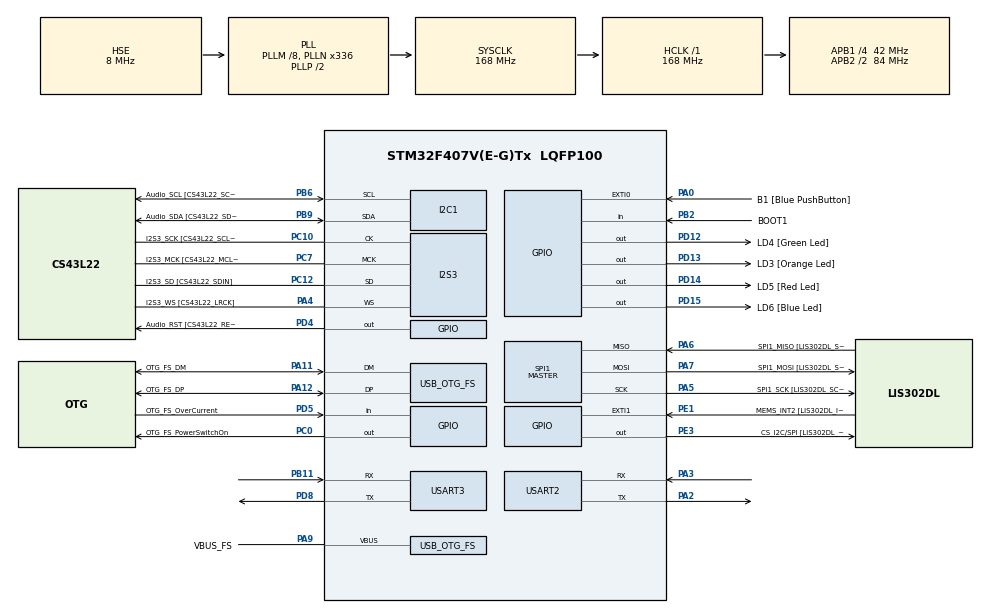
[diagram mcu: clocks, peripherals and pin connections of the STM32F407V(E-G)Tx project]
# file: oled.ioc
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PA11.GPIO_Speed=GPIO_SPEED_FREQ_LOW
PD12.GPIO_Label=LD4 [Green Led]
PH0-OSC_IN.Signal=RCC_OSC_IN
PC10.GPIO_PuPd=GPIO_NOPULL
SPI1.VirtualType=VM_MASTER
PB10.GPIO_PuPd=GPIO_NOPULL
PA10.GPIO_PuPd=GPIO_NOPULL
PC12.Signal=I2S3_SD
PA14.GPIO_Label=SWCLK
PA6.GPIO_Label=SPI1_MISO [LIS302DL_SDO]
PB6.GPIO_Label=Audio_SCL [CS43L22_SCL]
PC15-OSC32_OUT.GPIO_Label=PC15-OSC32_OUT
PC3.GPIO_Speed=GPIO_SPEED_FREQ_LOW
RCC.SYSCLKSource=RCC_SYSCLKSOURCE_PLLCLK
PA6.GPIO_Mode=GPIO_MODE_AF_PP
PD14.GPIO_Speed=GPIO_SPEED_FREQ_LOW
PA4.Mode=Half_Duplex_Master
SPI1.Direction=SPI_DIRECTION_2LINES
I2S3.AudioFreq-Half_Duplex_Master=I2S_AUDIOFREQ_96K
PD4.Signal=GPIO_Output
RCC.APB2TimFreq_Value=168000000
PB6.Signal=I2C1_SCL
PC7.Signal=I2S3_MCK
PB6.Mode=I2C
PC3.Signal=I2S2_SD
PD8.Signal=USART3_TX
PE1.Signal=GPXTI1
USB_OTG_FS.phy_itface=HCD_PHY_EMBEDDED
PB2.Signal=GPIO_Input
I2S3.ErrorAudioFreq=-2.34 %
PA5.GPIO_PuPd=GPIO_NOPULL
I2S3.ErrorAudioFreq-Half_Duplex_Master=0.8 %
PD5.GPIO_Mode=GPIO_MODE_INPUT
PD14.GPIO_PuPd=GPIO_NOPULL
PB2.GPIO_PuPd=GPIO_NOPULL
SPI1.CalculateBaudRate-Full_Duplex_Master=42.0 MBits/s
Mcu.Package=LQFP100
PB9.Signal=I2C1_SDA
PD12.Signal=GPIO_Output
PB9.GPIO_PuPd=GPIO_NOPULL
PA10.Signal=USB_OTG_FS_ID
RCC.APB2CLKDivider=RCC_HCLK_DIV2
RCC.APB1TimFreq_Value=84000000
PC12.GPIO_PuPd=GPIO_NOPULL
PA6.GPIO_Speed=GPIO_SPEED_FREQ_LOW
PA12.GPIO_PuPd=GPIO_NOPULL
PA4.GPIO_Label=I2S3_WS [CS43L22_LRCK]
PD15.Signal=GPIO_Output
PC0.PinState=GPIO_PIN_SET
PA5.Mode=Full_Duplex_Master
I2S3.FullDuplexMode=I2S_FULLDUPLEXMODE_DISABLE
PA9.GPIO_Label=VBUS_FS
PB6.GPIO_PuPd=GPIO_NOPULL
PA11.GPIO_Label=OTG_FS_DM
PE1.GPIO_PuPd=GPIO_NOPULL
PC0.Signal=GPIO_Output
RCC.APB1CLKDivider=RCC_HCLK_DIV4
PC14-OSC32_IN.Signal=RCC_OSC32_IN
PA0-WKUP.GPIO_ModeDefaultEXTI=GPIO_MODE_EVT_RISING
PA0-WKUP.GPIO_Label=B1 [Blue PushButton]
PA0-WKUP.Signal=GPXTI0
USB_HOST0.BSP.STBoard=false
PA3.Mode=Asynchronous
PC10.GPIO_Mode=GPIO_MODE_AF_PP
PB10.GPIO_Mode=GPIO_MODE_AF_PP
PB11.Mode=Asynchronous
PA9.Signal=USB_OTG_FS_VBUS
I2S3.VirtualMode=I2S_MODE_MASTER
PC7.GPIO_PuPd=GPIO_NOPULL
PD8.Mode=Asynchronous
PB10.Signal=I2S2_CK
PA5.Signal=SPI1_SCK
PC12.Mode=Half_Duplex_Master
PE1.GPIO_Label=MEMS_INT2 [LIS302DL_INT2]
USB_HOST.VirtualModeFS=Cdc
PA7.GPIO_Speed=GPIO_SPEED_FREQ_LOW
PB2.GPIO_Mode=GPIO_MODE_INPUT
SPI1.Mode=SPI_MODE_MASTER
PD4.GPIO_Speed=GPIO_SPEED_FREQ_LOW
PE3.GPIO_PuPd=GPIO_NOPULL
PH1-OSC_OUT.GPIO_Label=PH1-OSC_OUT
PA13.Mode=Serial_Wire
PC7.GPIO_Label=I2S3_MCK [CS43L22_MCLK]
PA4.Signal=I2S3_WS
PC12.GPIO_Mode=GPIO_MODE_AF_PP
PA5.GPIO_Label=SPI1_SCK [LIS302DL_SCL/SPC]
PE3.GPIO_Speed=GPIO_SPEED_FREQ_LOW
PC12.GPIO_Label=I2S3_SD [CS43L22_SDIN]
PA11.Signal=USB_OTG_FS_DM
ProjectManager.HeapSize=0x200
NVIC.PriorityGroup=NVIC_PRIORITYGROUP_0
PE3.Signal=GPIO_Output
PC3.GPIO_Label=PDM_OUT [MP45DT02_DOUT]
PA0-WKUP.GPIO_PuPd=GPIO_NOPULL
I2S3.Instance=SPI$Index
PB6.GPIO_Speed=GPIO_SPEED_FREQ_LOW
SPI1.BaudRatePrescaler-Full_Duplex_Master=SPI_BAUDRATEPRESCALER_2
USB_HOST0.BSP.mode=Output
Mcu.Family=STM32F4
PC3.GPIO_Mode=GPIO_MODE_AF_PP
PA6.Mode=Full_Duplex_Master
RCC.CortexFreq_Value=168000000
PB10.GPIO_Speed=GPIO_SPEED_FREQ_LOW
PB6.GPIO_Mode=GPIO_MODE_AF_OD
PD15.GPIO_Speed=GPIO_SPEED_FREQ_LOW
PC10.Signal=I2S3_CK
PA7.GPIO_Mode=GPIO_MODE_AF_PP
PC0.GPIO_Label=OTG_FS_PowerSwitchOn
PA11.Mode=Host_Only
PC10.GPIO_Speed=GPIO_SPEED_FREQ_LOW
PA11.GPIO_PuPd=GPIO_NOPULL
PB11.Signal=USART3_RX
ProjectManager.StackSize=0x400
SPI1.Mode-Full_Duplex_Master=SPI_MODE_MASTER
PD13.Signal=GPIO_Output
PA12.Signal=USB_OTG_FS_DP
RCC.HCLKFreq_Value=168000000
USB_HOST0.BSP.ip=GPIO
RCC.AHBFreq_Value=168000000
PH0-OSC_IN.Mode=HSE-External-Oscillator
PH0-OSC_IN.GPIO_Label=PH0-OSC_IN
PA9.GPIO_Mode=GPIO_MODE_INPUT
RCC.HSE_VALUE=8000000
PA4.GPIO_PuPd=GPIO_NOPULL
PA4.GPIO_Speed=GPIO_SPEED_FREQ_LOW
PA6.GPIO_PuPd=GPIO_NOPULL
PC14-OSC32_IN.Mode=LSE-External-Oscillator
PA14.Mode=Serial_Wire
PA10.GPIO_Label=OTG_FS_ID
PC7.GPIO_Mode=GPIO_MODE_AF_PP
USB_HOST0.BSP.i2creg=0
PH1-OSC_OUT.Mode=HSE-External-Oscillator
USB_HOST0.BSP.i2caddr=0
PD13.GPIO_Label=LD3 [Orange Led]
PA6.Signal=SPI1_MISO
USART2.VirtualMode=VM_ASYNC
USB_HOST.USBH_HandleTypeDef-CDC_FS=hUsbHostFS
PD5.GPIO_Label=OTG_FS_OverCurrent
NVIC.OTG_FS_IRQn=true\:0\:0\:false\:false\:true\:true\:true
PD15.GPIO_PuPd=GPIO_NOPULL
USB_OTG_FS.VirtualMode=Host_Only
PA10.GPIO_Speed=GPIO_SPEED_FREQ_LOW
USB_HOST0.BSP.name=Drive_VBUS_FS
PB9.GPIO_Speed=GPIO_SPEED_FREQ_LOW
PC14-OSC32_IN.GPIO_Label=PC14-OSC32_IN
PC0.GPIO_PuPd=GPIO_NOPULL
PA12.GPIO_Speed=GPIO_SPEED_FREQ_LOW
PA3.Signal=USART2_RX
PB3.GPIO_Label=SWO
PC15-OSC32_OUT.Mode=LSE-External-Oscillator
PD12.GPIO_Speed=GPIO_SPEED_FREQ_LOW
PD15.GPIO_Label=LD6 [Blue Led]
PA7.Mode=Full_Duplex_Master
PB9.GPIO_Label=Audio_SDA [CS43L22_SDA]
PC10.GPIO_Label=I2S3_SCK [CS43L22_SCLK]
USB_HOST0.BSP.solution=PC0
PC10.Mode=Half_Duplex_Master
USB_HOST.BSP.number=1
PD5.Signal=GPIO_Input
PE1.GPIO_ModeDefaultEXTI=GPIO_MODE_EVT_RISING
PA9.GPIO_PuPd=GPIO_NOPULL
PA12.GPIO_Label=OTG_FS_DP
PA10.GPIO_Mode=GPIO_MODE_AF_PP
PA13.Signal=SYS_JTMS-SWDIO
PD4.GPIO_PuPd=GPIO_NOPULL
PA9.Mode=Activate_VBUS
PC0.GPIO_Speed=GPIO_SPEED_FREQ_LOW
I2S3.RealAudioFreq-Half_Duplex_Master=96.774 KHz
ProjectManager.TargetToolchain=STM32CubeIDE
PB10.GPIO_Label=CLK_IN [MP45DT02_CLK]
PB9.Mode=I2C
PC15-OSC32_OUT.Signal=RCC_OSC32_OUT
PA7.GPIO_PuPd=GPIO_NOPULL
board=STM32F407G-DISC1
PD13.GPIO_Speed=GPIO_SPEED_FREQ_LOW
PC7.GPIO_Speed=GPIO_SPEED_FREQ_LOW
RCC.VCOOutputFreq_Value=336000000
PB9.GPIO_Mode=GPIO_MODE_AF_OD
PA12.GPIO_Mode=GPIO_MODE_AF_PP
PA4.GPIO_Mode=GPIO_MODE_AF_PP
RCC.APB2Freq_Value=84000000
USB_HOST0.BSP.api=Unknown
PD4.GPIO_Label=Audio_RST [CS43L22_RESET]
PH1-OSC_OUT.Signal=RCC_OSC_OUT
PD13.GPIO_PuPd=GPIO_NOPULL
PD5.GPIO_PuPd=GPIO_NOPULL
PD14.GPIO_Label=LD5 [Red Led]
Mcu.Name=STM32F407V(E-G)Tx
PA2.Signal=USART2_TX
PA13.GPIO_Label=SWDIO
PD14.Signal=GPIO_Output
RCC.48MHZClocksFreq_Value=48000000
PB3.Signal=SYS_JTDO-SWO
RCC.SYSCLKFreq_VALUE=168000000
PA7.GPIO_Label=SPI1_MOSI [LIS302DL_SDA/SDI/SDO]
PA12.Mode=Host_Only
VP_USB_HOST_VS_USB_HOST_CDC_FS.Mode=CDC_FS
USART3.VirtualMode=VM_ASYNC
PA14.Signal=SYS_JTCK-SWCLK
PB2.GPIO_Label=BOOT1
RCC.HSI_VALUE=16000000
PA5.GPIO_Speed=GPIO_SPEED_FREQ_LOW
RCC.PLLQ=7
I2S3.RealAudioFreq=93.75 KHz
RCC.PLLM=8
RCC.PLLN=336
PA2.Mode=Asynchronous
PE3.GPIO_Label=CS_I2C/SPI [LIS302DL_CS_I2C/SPI]
PC7.Mode=Master_Clock_Activated
PA11.GPIO_Mode=GPIO_MODE_AF_PP
RCC.APB1Freq_Value=42000000
PA5.GPIO_Mode=GPIO_MODE_AF_PP
PC12.GPIO_Speed=GPIO_SPEED_FREQ_LOW
PC3.GPIO_PuPd=GPIO_NOPULL
PD12.GPIO_PuPd=GPIO_NOPULL
PA7.Signal=SPI1_MOSI
USB_HOST0.BSP.instance=PC0

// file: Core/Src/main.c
/* USER CODE BEGIN Header */
/**
  ******************************************************************************
  * @file           : main.c
  * @brief          : Main program body
  ******************************************************************************
  * @attention
  *
  * <h2><center>&copy; Copyright (c) 2022 STMicroelectronics.
  * All rights reserved.</center></h2>
  *
  * This software component is licensed by ST under Ultimate Liberty license
  * SLA0044, the "License"; You may not use this file except in compliance with
  * the License. You may obtain a copy of the License at:
  *                             www.st.com/SLA0044
  *
  ******************************************************************************
  */
/* USER CODE END Header */
#include "main.h"
#include "usb_host.h"

/* USER CODE BEGIN Includes */
#include "ssd1306.h"
#include "fonts.h"
/* USER CODE END Includes */

I2C_HandleTypeDef hi2c1;

I2S_HandleTypeDef hi2s3;

SPI_HandleTypeDef hspi1;

UART_HandleTypeDef huart2;
UART_HandleTypeDef huart3;

void SystemClock_Config(void);
static void MX_GPIO_Init(void);
static void MX_I2C1_Init(void);
static void MX_I2S3_Init(void);
static void MX_SPI1_Init(void);
static void MX_USART2_UART_Init(void);
static void MX_USART3_UART_Init(void);
void MX_USB_HOST_Process(void);

int main(void)
{

  /* MCU Configuration--------------------------------------------------------*/

  /* Reset of all peripherals, Initializes the Flash interface and the Systick. */
  HAL_Init();

  /* Configure the system clock */
  SystemClock_Config();

  /* Initialize all configured peripherals */
  MX_GPIO_Init();
  MX_I2C1_Init();
  MX_I2S3_Init();
  MX_SPI1_Init();
  MX_USB_HOST_Init();
  MX_USART2_UART_Init();
  MX_USART3_UART_Init();
  /* USER CODE BEGIN 2 */
  ssd1306_Init();
  HAL_Delay(1000);
  ssd1306_Fill(Black);
  ssd1306_UpdateScreen();
  HAL_Delay(1000);
  ssd1306_SetCursor(0, 0);
  ssd1306_WriteString("Lim Doyu", Font_11x18, White);
  ssd1306_SetCursor(0, 50);
  ssd1306_WriteString("Time", Font_7x10, White);
  ssd1306_UpdateScreen();
  /* USER CODE END 2 */

  /* Infinite loop */
  /* USER CODE BEGIN WHILE */
  int counter;
  unsigned char string[10];
  while (1)
  {
    /* USER CODE END WHILE */
    MX_USB_HOST_Process();

    /* USER CODE BEGIN 3 */
    string[0] = counter / 100 + 0x30;
    string[1] = (counter % 100) / 10 + 0x30;
    string[2] = (counter % 100) % 10 + 0x30;
    string[3] = 0;
    ssd1306_SetCursor(40, 20);
    ssd1306_WriteString(string, Font_16x26, White);
    counter++;
    if (counter > 999) counter = 0;
    ssd1306_UpdateScreen();
    HAL_Delay(10);
  }
  /* USER CODE END 3 */
}

void SystemClock_Config(void)
{
  RCC_OscInitTypeDef RCC_OscInitStruct = {0};
  RCC_ClkInitTypeDef RCC_ClkInitStruct = {0};
  RCC_PeriphCLKInitTypeDef PeriphClkInitStruct = {0};

  /** Configure the main internal regulator output voltage
  */
  __HAL_RCC_PWR_CLK_ENABLE();
  __HAL_PWR_VOLTAGESCALING_CONFIG(PWR_REGULATOR_VOLTAGE_SCALE1);
  /** Initializes the RCC Oscillators according to the specified parameters
  * in the RCC_OscInitTypeDef structure.
  */
  RCC_OscInitStruct.OscillatorType = RCC_OSCILLATORTYPE_HSE;
  RCC_OscInitStruct.HSEState = RCC_HSE_ON;
  RCC_OscInitStruct.PLL.PLLState = RCC_PLL_ON;
  RCC_OscInitStruct.PLL.PLLSource = RCC_PLLSOURCE_HSE;
  RCC_OscInitStruct.PLL.PLLM = 8;
  RCC_OscInitStruct.PLL.PLLN = 336;
  RCC_OscInitStruct.PLL.PLLP = RCC_PLLP_DIV2;
  RCC_OscInitStruct.PLL.PLLQ = 7;
  if (HAL_RCC_OscConfig(&RCC_OscInitStruct) != HAL_OK)
  {
    Error_Handler();
  }
  /** Initializes the CPU, AHB and APB buses clocks
  */
  RCC_ClkInitStruct.ClockType = RCC_CLOCKTYPE_HCLK|RCC_CLOCKTYPE_SYSCLK
                              |RCC_CLOCKTYPE_PCLK1|RCC_CLOCKTYPE_PCLK2;
  RCC_ClkInitStruct.SYSCLKSource = RCC_SYSCLKSOURCE_PLLCLK;
  RCC_ClkInitStruct.AHBCLKDivider = RCC_SYSCLK_DIV1;
  RCC_ClkInitStruct.APB1CLKDivider = RCC_HCLK_DIV4;
  RCC_ClkInitStruct.APB2CLKDivider = RCC_HCLK_DIV2;

  if (HAL_RCC_ClockConfig(&RCC_ClkInitStruct, FLASH_LATENCY_5) != HAL_OK)
  {
    Error_Handler();
  }
  PeriphClkInitStruct.PeriphClockSelection = RCC_PERIPHCLK_I2S;
  PeriphClkInitStruct.PLLI2S.PLLI2SN = 192;
  PeriphClkInitStruct.PLLI2S.PLLI2SR = 2;
  if (HAL_RCCEx_PeriphCLKConfig(&PeriphClkInitStruct) != HAL_OK)
  {
    Error_Handler();
  }
}

static void MX_I2C1_Init(void)
{

  hi2c1.Instance = I2C1;
  hi2c1.Init.ClockSpeed = 100000;
  hi2c1.Init.DutyCycle = I2C_DUTYCYCLE_2;
  hi2c1.Init.OwnAddress1 = 0;
  hi2c1.Init.AddressingMode = I2C_ADDRESSINGMODE_7BIT;
  hi2c1.Init.DualAddressMode = I2C_DUALADDRESS_DISABLE;
  hi2c1.Init.OwnAddress2 = 0;
  hi2c1.Init.GeneralCallMode = I2C_GENERALCALL_DISABLE;
  hi2c1.Init.NoStretchMode = I2C_NOSTRETCH_DISABLE;
  if (HAL_I2C_Init(&hi2c1) != HAL_OK)
  {
    Error_Handler();
  }

}

static void MX_I2S3_Init(void)
{

  hi2s3.Instance = SPI3;
  hi2s3.Init.Mode = I2S_MODE_MASTER_TX;
  hi2s3.Init.Standard = I2S_STANDARD_PHILIPS;
  hi2s3.Init.DataFormat = I2S_DATAFORMAT_16B;
  hi2s3.Init.MCLKOutput = I2S_MCLKOUTPUT_ENABLE;
  hi2s3.Init.AudioFreq = I2S_AUDIOFREQ_96K;
  hi2s3.Init.CPOL = I2S_CPOL_LOW;
  hi2s3.Init.ClockSource = I2S_CLOCK_PLL;
  hi2s3.Init.FullDuplexMode = I2S_FULLDUPLEXMODE_DISABLE;
  if (HAL_I2S_Init(&hi2s3) != HAL_OK)
  {
    Error_Handler();
  }

}

static void MX_SPI1_Init(void)
{

  /* SPI1 parameter configuration*/
  hspi1.Instance = SPI1;
  hspi1.Init.Mode = SPI_MODE_MASTER;
  hspi1.Init.Direction = SPI_DIRECTION_2LINES;
  hspi1.Init.DataSize = SPI_DATASIZE_8BIT;
  hspi1.Init.CLKPolarity = SPI_POLARITY_LOW;
  hspi1.Init.CLKPhase = SPI_PHASE_1EDGE;
  hspi1.Init.NSS = SPI_NSS_SOFT;
  hspi1.Init.BaudRatePrescaler = SPI_BAUDRATEPRESCALER_2;
  hspi1.Init.FirstBit = SPI_FIRSTBIT_MSB;
  hspi1.Init.TIMode = SPI_TIMODE_DISABLE;
  hspi1.Init.CRCCalculation = SPI_CRCCALCULATION_DISABLE;
  hspi1.Init.CRCPolynomial = 10;
  if (HAL_SPI_Init(&hspi1) != HAL_OK)
  {
    Error_Handler();
  }

}

static void MX_USART2_UART_Init(void)
{

  huart2.Instance = USART2;
  huart2.Init.BaudRate = 115200;
  huart2.Init.WordLength = UART_WORDLENGTH_8B;
  huart2.Init.StopBits = UART_STOPBITS_1;
  huart2.Init.Parity = UART_PARITY_NONE;
  huart2.Init.Mode = UART_MODE_TX_RX;
  huart2.Init.HwFlowCtl = UART_HWCONTROL_NONE;
  huart2.Init.OverSampling = UART_OVERSAMPLING_16;
  if (HAL_UART_Init(&huart2) != HAL_OK)
  {
    Error_Handler();
  }

}

static void MX_USART3_UART_Init(void)
{

  huart3.Instance = USART3;
  huart3.Init.BaudRate = 115200;
  huart3.Init.WordLength = UART_WORDLENGTH_8B;
  huart3.Init.StopBits = UART_STOPBITS_1;
  huart3.Init.Parity = UART_PARITY_NONE;
  huart3.Init.Mode = UART_MODE_TX_RX;
  huart3.Init.HwFlowCtl = UART_HWCONTROL_NONE;
  huart3.Init.OverSampling = UART_OVERSAMPLING_16;
  if (HAL_UART_Init(&huart3) != HAL_OK)
  {
    Error_Handler();
  }

}

static void MX_GPIO_Init(void)
{
  GPIO_InitTypeDef GPIO_InitStruct = {0};

  /* GPIO Ports Clock Enable */
  __HAL_RCC_GPIOE_CLK_ENABLE();
  __HAL_RCC_GPIOC_CLK_ENABLE();
  __HAL_RCC_GPIOH_CLK_ENABLE();
  __HAL_RCC_GPIOA_CLK_ENABLE();
  __HAL_RCC_GPIOB_CLK_ENABLE();
  __HAL_RCC_GPIOD_CLK_ENABLE();

  /*Configure GPIO pin Output Level */
  HAL_GPIO_WritePin(CS_I2C_SPI_GPIO_Port, CS_I2C_SPI_Pin, GPIO_PIN_RESET);

  /*Configure GPIO pin Output Level */
  HAL_GPIO_WritePin(OTG_FS_PowerSwitchOn_GPIO_Port, OTG_FS_PowerSwitchOn_Pin, GPIO_PIN_SET);

  /*Configure GPIO pin Output Level */
  HAL_GPIO_WritePin(GPIOD, LD4_Pin|LD3_Pin|LD5_Pin|LD6_Pin
                          |Audio_RST_Pin, GPIO_PIN_RESET);

  /*Configure GPIO pin : CS_I2C_SPI_Pin */
  GPIO_InitStruct.Pin = CS_I2C_SPI_Pin;
  GPIO_InitStruct.Mode = GPIO_MODE_OUTPUT_PP;
  GPIO_InitStruct.Pull = GPIO_NOPULL;
  GPIO_InitStruct.Speed = GPIO_SPEED_FREQ_LOW;
  HAL_GPIO_Init(CS_I2C_SPI_GPIO_Port, &GPIO_InitStruct);

  /*Configure GPIO pin : OTG_FS_PowerSwitchOn_Pin */
  GPIO_InitStruct.Pin = OTG_FS_PowerSwitchOn_Pin;
  GPIO_InitStruct.Mode = GPIO_MODE_OUTPUT_PP;
  GPIO_InitStruct.Pull = GPIO_NOPULL;
  GPIO_InitStruct.Speed = GPIO_SPEED_FREQ_LOW;
  HAL_GPIO_Init(OTG_FS_PowerSwitchOn_GPIO_Port, &GPIO_InitStruct);

  /*Configure GPIO pin : PDM_OUT_Pin */
  GPIO_InitStruct.Pin = PDM_OUT_Pin;
  GPIO_InitStruct.Mode = GPIO_MODE_AF_PP;
  GPIO_InitStruct.Pull = GPIO_NOPULL;
  GPIO_InitStruct.Speed = GPIO_SPEED_FREQ_LOW;
  GPIO_InitStruct.Alternate = GPIO_AF5_SPI2;
  HAL_GPIO_Init(PDM_OUT_GPIO_Port, &GPIO_InitStruct);

  /*Configure GPIO pin : B1_Pin */
  GPIO_InitStruct.Pin = B1_Pin;
  GPIO_InitStruct.Mode = GPIO_MODE_EVT_RISING;
  GPIO_InitStruct.Pull = GPIO_NOPULL;
  HAL_GPIO_Init(B1_GPIO_Port, &GPIO_InitStruct);

  /*Configure GPIO pin : BOOT1_Pin */
  GPIO_InitStruct.Pin = BOOT1_Pin;
  GPIO_InitStruct.Mode = GPIO_MODE_INPUT;
  GPIO_InitStruct.Pull = GPIO_NOPULL;
  HAL_GPIO_Init(BOOT1_GPIO_Port, &GPIO_InitStruct);

  /*Configure GPIO pin : CLK_IN_Pin */
  GPIO_InitStruct.Pin = CLK_IN_Pin;
  GPIO_InitStruct.Mode = GPIO_MODE_AF_PP;
  GPIO_InitStruct.Pull = GPIO_NOPULL;
  GPIO_InitStruct.Speed = GPIO_SPEED_FREQ_LOW;
  GPIO_InitStruct.Alternate = GPIO_AF5_SPI2;
  HAL_GPIO_Init(CLK_IN_GPIO_Port, &GPIO_InitStruct);

  /*Configure GPIO pins : LD4_Pin LD3_Pin LD5_Pin LD6_Pin
                           Audio_RST_Pin */
  GPIO_InitStruct.Pin = LD4_Pin|LD3_Pin|LD5_Pin|LD6_Pin
                          |Audio_RST_Pin;
  GPIO_InitStruct.Mode = GPIO_MODE_OUTPUT_PP;
  GPIO_InitStruct.Pull = GPIO_NOPULL;
  GPIO_InitStruct.Speed = GPIO_SPEED_FREQ_LOW;
  HAL_GPIO_Init(GPIOD, &GPIO_InitStruct);

  /*Configure GPIO pin : OTG_FS_OverCurrent_Pin */
  GPIO_InitStruct.Pin = OTG_FS_OverCurrent_Pin;
  GPIO_InitStruct.Mode = GPIO_MODE_INPUT;
  GPIO_InitStruct.Pull = GPIO_NOPULL;
  HAL_GPIO_Init(OTG_FS_OverCurrent_GPIO_Port, &GPIO_InitStruct);

  /*Configure GPIO pin : MEMS_INT2_Pin */
  GPIO_InitStruct.Pin = MEMS_INT2_Pin;
  GPIO_InitStruct.Mode = GPIO_MODE_EVT_RISING;
  GPIO_InitStruct.Pull = GPIO_NOPULL;
  HAL_GPIO_Init(MEMS_INT2_GPIO_Port, &GPIO_InitStruct);

}

void Error_Handler(void)
{
  __disable_irq();
  while (1)
  {
  }
}

/************************ (C) COPYRIGHT STMicroelectronics *****END OF FILE****/
